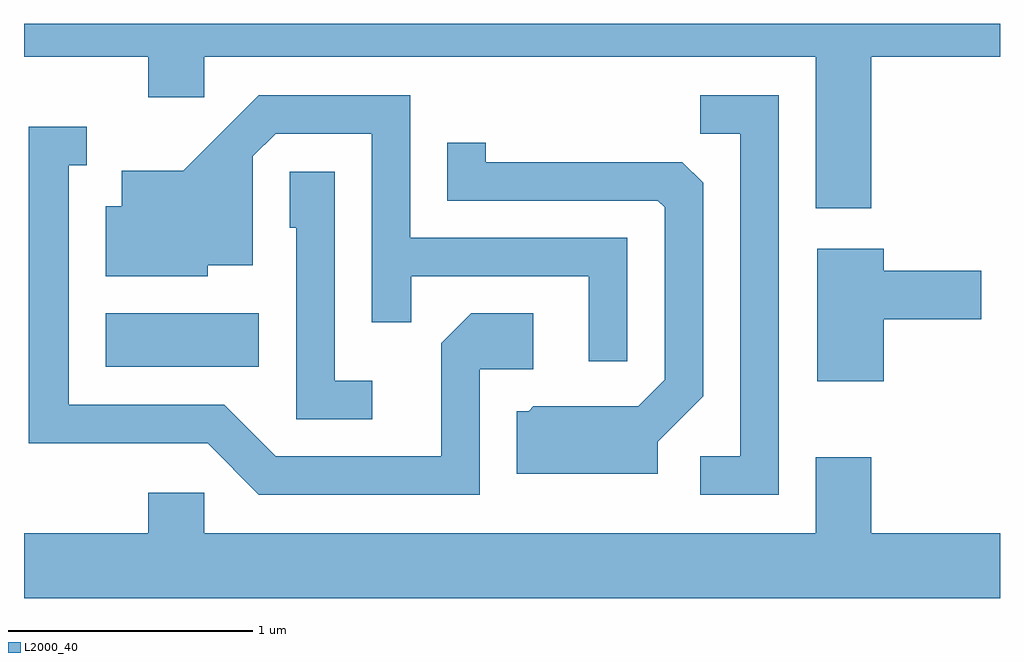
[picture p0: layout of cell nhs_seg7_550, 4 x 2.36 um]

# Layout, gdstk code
import gdstk
lib = gdstk.Library(unit=1e-6, precision=1e-09)
def R(c, l, rs):  # rectangles x0, y0, x1, y1
    for r in rs: c.add(gdstk.rectangle(r[:2], r[2:], *l))
def P(c, l, *ps):  # polygons
    for p in ps: c.add(gdstk.Polygon(p, *l))
L2000_40 = (2000, 40)

nhs_seg7_550 = lib.new_cell('nhs_seg7_550')
R(nhs_seg7_550, L2000_40, [(201.946,1690.846,202.574,1691.064)])
P(nhs_seg7_550, L2000_40, [(205.084,1692.116),(205.611,1692.116),(205.611,1692.252),(201.611,1692.252),(201.611,1692.116),(202.121,1692.116),(202.121,1691.951),(202.349,1691.951),(202.349,1692.116),(204.856,1692.116),(204.856,1691.496),(205.084,1691.496)],
  [(204.084,1691.374),(203.194,1691.374),(203.194,1691.959),(202.574,1691.959),(202.264,1691.649),(202.011,1691.649),(202.011,1691.504),(201.946,1691.504),(201.946,1691.216),(202.364,1691.216),(202.364,1691.261),(202.549,1691.261),(202.549,1691.709),(202.642,1691.801),(203.036,1691.801),(203.036,1691.028),(203.199,1691.028),(203.199,1691.216),(203.926,1691.216),(203.926,1690.868),(204.084,1690.868)],
  [(204.704,1691.959),(204.383,1691.959),(204.383,1691.801),(204.546,1691.801),(204.546,1690.479),(204.383,1690.479),(204.383,1690.321),(204.704,1690.321)],
  [(203.479,1690.836),(203.699,1690.836),(203.699,1691.064),(203.444,1691.064),(203.321,1690.942),(203.321,1690.479),(202.642,1690.479),(202.432,1690.689),(201.794,1690.689),(201.794,1691.671),(201.868,1691.671),(201.868,1691.829),(201.631,1691.829),(201.631,1690.531),(202.364,1690.531),(202.574,1690.321),(203.479,1690.321)],
  [(204.209,1690.539),(204.394,1690.724),(204.394,1691.599),(204.309,1691.684),(203.504,1691.684),(203.504,1691.763),(203.346,1691.763),(203.346,1691.526),(204.209,1691.526),(204.236,1691.499),(204.236,1690.792),(204.129,1690.684),(203.699,1690.684),(203.679,1690.664),(203.631,1690.664),(203.631,1690.406),(204.209,1690.406)],
  [(203.038,1690.789),(202.884,1690.789),(202.884,1691.644),(202.701,1691.644),(202.701,1691.416),(202.726,1691.416),(202.726,1690.631),(203.038,1690.631)],
  [(205.134,1691.041),(205.534,1691.041),(205.534,1691.239),(205.134,1691.239),(205.134,1691.329),(204.861,1691.329),(204.861,1690.786),(205.134,1690.786)],
  [(205.611,1690.164),(205.084,1690.164),(205.084,1690.474),(204.856,1690.474),(204.856,1690.164),(202.349,1690.164),(202.349,1690.329),(202.121,1690.329),(202.121,1690.164),(201.611,1690.164),(201.611,1689.896),(205.611,1689.896)])

lib.write_gds('nhs_seg7_550.gds')
